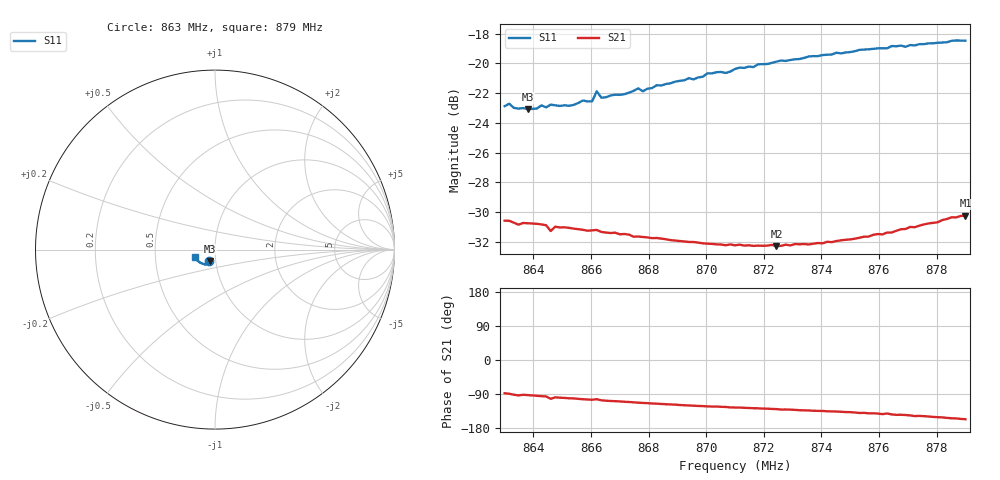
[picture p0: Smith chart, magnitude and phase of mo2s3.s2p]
# HZ S RI R 50
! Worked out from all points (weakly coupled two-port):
!   101 points, 863 MHz to 879 MHz, reference 50 ohm
!   highest |S21| = -30.23 dB at 879 MHz (marker M1); lowest = -32.3 dB at 872.44 MHz (marker M2)
!   lowest |S11| = -23.1 dB at 863.8 MHz (marker M3), VSWR 1.15, Z = 46.8 - j6.02 ohm
!   |S11| at or under -10 dB: start of sweep to end of sweep
!   S12 and S22 are empty: the file has one direction only
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8.63e8  -0.0333 -0.0635  0.00113 -0.0296  0 0  0 0
8.6316e8  -0.0348 -0.0643  0.000478 -0.0296  0 0  0 0
8.6332e8  -0.0307 -0.0638  -0.000786 -0.0291  0 0  0 0
8.638e8  -0.0289 -0.0639  -0.00135 -0.029  0 0  0 0
8.6428e8  -0.0287 -0.0663  -0.00274 -0.0286  0 0  0 0
8.6444e8  -0.0281 -0.0653  -0.00304 -0.0284  0 0  0 0
8.646e8  -0.0292 -0.0665  -0.00589 -0.0267  0 0  0 0
8.6476e8  -0.0289 -0.0662  -0.00415 -0.028  0 0  0 0
8.6524e8  -0.0275 -0.0665  -0.0054 -0.0275  0 0  0 0
8.6572e8  -0.0287 -0.0693  -0.00644 -0.0268  0 0  0 0
8.6604e8  -0.0281 -0.069  -0.00707 -0.0265  0 0  0 0
8.662e8  -0.0348 -0.0726  -0.0064 -0.0268  0 0  0 0
8.6636e8  -0.0302 -0.0704  -0.00766 -0.026  0 0  0 0
8.6716e8  -0.0309 -0.0724  -0.00924 -0.0251  0 0  0 0
8.6764e8  -0.0339 -0.0751  -0.0101 -0.0242  0 0  0 0
8.678e8  -0.0325 -0.0737  -0.0103 -0.024  0 0  0 0
8.6844e8  -0.0358 -0.0762  -0.0113 -0.0232  0 0  0 0
8.71e8  -0.0508 -0.0811  -0.0142 -0.0199  0 0  0 0
8.7244e8  -0.0612 -0.0807  -0.0155 -0.0187  0 0  0 0
8.7372e8  -0.0706 -0.0786  -0.0172 -0.0178  0 0  0 0
8.7644e8  -0.0942 -0.0647  -0.0217 -0.016  0 0  0 0
8.79e8  -0.1109 -0.0435  -0.0282 -0.0124  0 0  0 0
